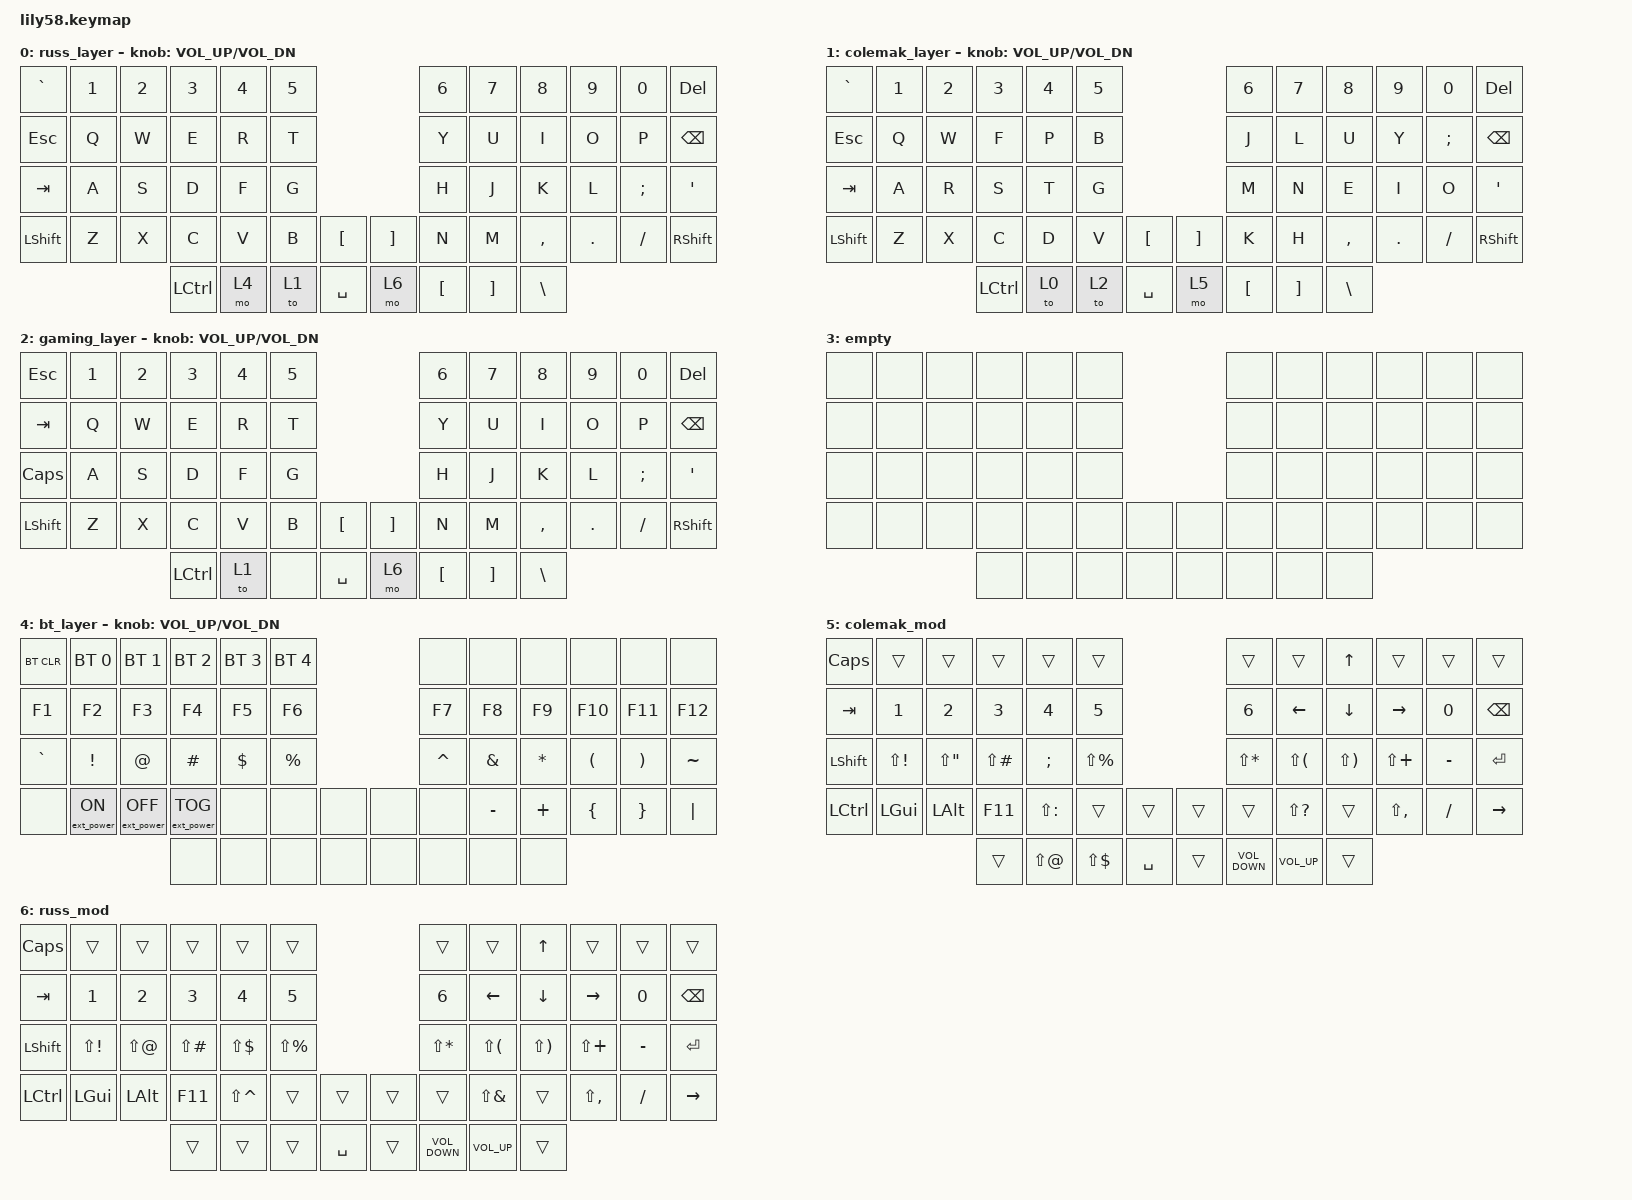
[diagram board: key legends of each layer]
/*
 * Copyright (c) 2020 The ZMK Contributors
 *
 * SPDX-License-Identifier: MIT
 */

#include <behaviors.dtsi>
#include <dt-bindings/zmk/bt.h>
#include <dt-bindings/zmk/ext_power.h>
#include <dt-bindings/zmk/keys.h>

/ {
    keymap {
        compatible = "zmk,keymap";

        russ_layer {
            // ------------------------------------------------------------------------------------------------------------
            // |  ESC  |  1  |  2  |  3   |  4   |  5   |                   |  6   |  7    |  8    |  9   |   0   |   `   |
            // |  TAB  |  Q  |  W  |  E   |  R   |  T   |                   |  Y   |  U    |  I    |  O   |   P   |   -   |
            // |  CTRL |  A  |  S  |  D   |  F   |  G   |                   |  H   |  J    |  K    |  L   |   ;   |   '   |
            // | SHIFT |  Z  |  X  |  C   |  V   |  B   |   "["  |  |  "]"  |  N   |  M    |  ,    |  .   |   /   | SHIFT |
            //                     | ALT  | GUI  | LOWER|  SPACE |  | ENTER | RAISE| BSPC  | GUI   |

            bindings = <
&kp GRAVE  &kp N1  &kp N2  &kp N3     &kp N4  &kp N5                         &kp N6    &kp N7    &kp N8     &kp N9   &kp N0    &kp DELETE
&kp ESC    &kp Q   &kp W   &kp E      &kp R   &kp T                          &kp Y     &kp U     &kp I      &kp O    &kp P     &kp BSPC
&kp TAB    &kp A   &kp S   &kp D      &kp F   &kp G                          &kp H     &kp J     &kp K      &kp L    &kp SEMI  &kp SQT
&kp LSHFT  &kp Z   &kp X   &kp C      &kp V   &kp B   &kp LBKT     &kp RBKT  &kp N     &kp M     &kp COMMA  &kp DOT  &kp FSLH  &kp RSHFT
                           &kp LCTRL  &mo 4   &to 1   &kp SPACE    &mo 6     &kp LBKT  &kp RBKT  &kp BSLH
            >;

            sensor-bindings = <&inc_dec_kp C_VOL_UP C_VOL_DN>;
        };

        colemak_layer {
            bindings = <
&kp GRAVE  &kp N1  &kp N2  &kp N3     &kp N4  &kp N5                                         &kp N6    &kp N7    &kp N8     &kp N9   &kp N0    &kp DEL
&kp ESC    &kp Q   &kp W   &kp F      &kp P   &kp B                                          &kp J     &kp L     &kp U      &kp Y    &kp SEMI  &kp BSPC
&kp TAB    &kp A   &kp R   &kp S      &kp T   &kp G                                          &kp M     &kp N     &kp E      &kp I    &kp O     &kp SQT
&kp LSHFT  &kp Z   &kp X   &kp C      &kp D   &kp V   &kp LEFT_BRACKET    &kp RIGHT_BRACKET  &kp K     &kp H     &kp COMMA  &kp DOT  &kp FSLH  &kp RSHFT
                           &kp LCTRL  &to 0   &to 2   &kp SPACE           &mo 5              &kp LBKT  &kp RBKT  &kp BSLH
            >;

            sensor-bindings = <&inc_dec_kp C_VOL_UP C_VOL_DN>;
        };

        gaming_layer {
            bindings = <
&kp ESC       &kp N1  &kp N2  &kp N3     &kp N4  &kp N5                         &kp N6    &kp N7    &kp N8     &kp N9   &kp N0    &kp DEL
&kp TAB       &kp Q   &kp W   &kp E      &kp R   &kp T                          &kp Y     &kp U     &kp I      &kp O    &kp P     &kp BSPC
&kp CAPSLOCK  &kp A   &kp S   &kp D      &kp F   &kp G                          &kp H     &kp J     &kp K      &kp L    &kp SEMI  &kp SQT
&kp LSHFT     &kp Z   &kp X   &kp C      &kp V   &kp B   &kp LBKT     &kp RBKT  &kp N     &kp M     &kp COMMA  &kp DOT  &kp FSLH  &kp RSHFT
                              &kp LCTRL  &to 1   &none   &kp SPACE    &mo 6     &kp LBKT  &kp RBKT  &kp BSLH
            >;

            sensor-bindings = <&inc_dec_kp C_VOL_UP C_VOL_DN>;
        };

        empty {
            bindings = <
&none  &none  &none  &none  &none  &none                  &none  &none  &none  &none  &none  &none
&none  &none  &none  &none  &none  &none                  &none  &none  &none  &none  &none  &none
&none  &none  &none  &none  &none  &none                  &none  &none  &none  &none  &none  &none
&none  &none  &none  &none  &none  &none  &none    &none  &none  &none  &none  &none  &none  &none
                     &none  &none  &none  &none    &none  &none  &none  &none
            >;
        };

        bt_layer {
            // ------------------------------------------------------------------------------------------------------------
            // | BTCLR | BT1 | BT2 |  BT3 |  BT4 |  BT5 |                   |      |       |       |      |       |       |
            // |  F1   |  F2 |  F3 |  F4  |  F5  |  F6  |                   |  F7  |  F8   |  F9   |  F10 |  F11  |  F12  |
            // |   `   |  !  |  @  |  #   |  $   |  %   |                   |  ^   |  &    |  *    |  (   |   )   |   ~   |
            // |       |     |     |      |      |      |        |  |       |      |  _    |  +    |  {   |   }   |  "|"  |
            //                     |      |      |      |        |  |       |      |       |       |

            bindings = <
&bt BT_CLR  &bt BT_SEL 0      &bt BT_SEL 1       &bt BT_SEL 2       &bt BT_SEL 3  &bt BT_SEL 4                  &none      &none      &none      &none     &none     &none
&kp F1      &kp F2            &kp F3             &kp F4             &kp F5        &kp F6                        &kp F7     &kp F8     &kp F9     &kp F10   &kp F11   &kp F12
&kp GRAVE   &kp EXCL          &kp AT             &kp HASH           &kp DOLLAR    &kp PRCNT                     &kp CARET  &kp AMPS   &kp ASTRK  &kp LPAR  &kp RPAR  &kp TILDE
&none       &ext_power EP_ON  &ext_power EP_OFF  &ext_power EP_TOG  &none         &none         &none    &none  &none      &kp MINUS  &kp PLUS   &kp LBRC  &kp RBRC  &kp PIPE
                                                 &none              &none         &none         &none    &none  &none      &none      &none
            >;

            sensor-bindings = <&inc_dec_kp C_VOL_UP C_VOL_DN>;
        };

        colemak_mod {
            bindings = <
&kp CAPS   &trans        &trans       &trans         &trans         &trans                              &trans             &trans           &kp UP        &trans         &trans     &trans
&kp TAB    &kp N1        &kp N2       &kp N3         &kp N4         &kp N5                              &kp N6             &kp LEFT         &kp DOWN      &kp RIGHT      &kp N0     &kp BSPC
&kp LSHFT  &kp LS(EXCL)  &kp LS(DQT)  &kp LS(POUND)  &kp SEMI       &kp LS(PRCNT)                       &kp LS(STAR)       &kp LS(LPAR)     &kp LS(RPAR)  &kp LS(PLUS)   &kp MINUS  &kp RET
&kp LCTRL  &kp LGUI      &kp LALT     &kp F11        &kp LS(COLON)  &trans         &trans       &trans  &trans             &kp LS(QMARK)    &trans        &kp LS(COMMA)  &kp FSLH   &kp RIGHT
                                      &trans         &kp LS(AT)     &kp LS(DLLR)   &kp SPACE    &trans  &kp C_VOLUME_DOWN  &kp C_VOLUME_UP  &trans
            >;
        };

        russ_mod {
            bindings = <
&kp CAPS   &trans        &trans      &trans         &trans         &trans                              &trans             &trans           &kp UP        &trans         &trans     &trans
&kp TAB    &kp N1        &kp N2      &kp N3         &kp N4         &kp N5                              &kp N6             &kp LEFT         &kp DOWN      &kp RIGHT      &kp N0     &kp BSPC
&kp LSHFT  &kp LS(EXCL)  &kp LS(AT)  &kp LS(POUND)  &kp LS(DLLR)   &kp LS(PRCNT)                       &kp LS(STAR)       &kp LS(LPAR)     &kp LS(RPAR)  &kp LS(PLUS)   &kp MINUS  &kp RET
&kp LCTRL  &kp LGUI      &kp LALT    &kp F11        &kp LS(CARET)  &trans         &trans       &trans  &trans             &kp LS(AMPS)     &trans        &kp LS(COMMA)  &kp FSLH   &kp RIGHT
                                     &trans         &trans         &trans         &kp SPACE    &trans  &kp C_VOLUME_DOWN  &kp C_VOLUME_UP  &trans
            >;
        };
    };
};
